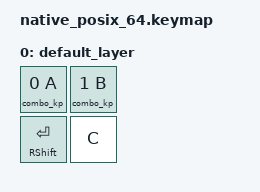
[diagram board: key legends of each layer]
#include <dt-bindings/zmk/keys.h>
#include <behaviors.dtsi>
#include <dt-bindings/zmk/kscan_mock.h>

&mt {
    flavor = "hold-preferred";
};

/ {
    combos {
        compatible = "zmk,combos";
        combo_one {
            timeout-ms = <40>;
            triggers = <0 1>;
            bindings = <&kp X>;
        };
    };

    keymap {
        compatible = "zmk,keymap";

        default_layer {
            bindings = <
            &combo_kp 0 A         &combo_kp 1 B
            &mt RSHFT RET &kp C
            >;
        };
    };
};

&kscan {
    events = <
    ZMK_MOCK_PRESS(1,0,10)
    ZMK_MOCK_PRESS(0,1,10)
    ZMK_MOCK_PRESS(1,1,10)
    ZMK_MOCK_RELEASE(0,1,50)
    ZMK_MOCK_RELEASE(1,1,50)
    >;
};
